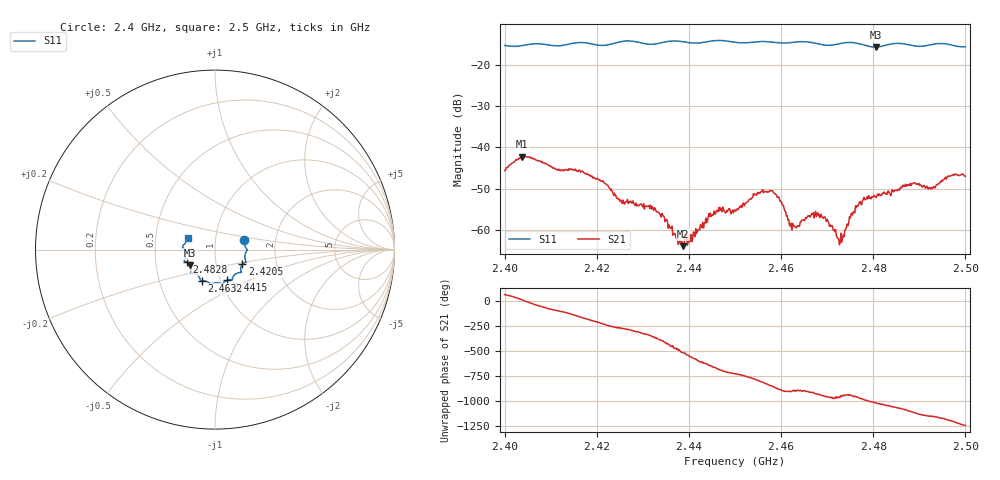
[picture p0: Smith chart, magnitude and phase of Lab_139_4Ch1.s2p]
# Hz S RI R 50
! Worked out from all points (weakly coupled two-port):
!   601 points, 2.4 GHz to 2.5 GHz, reference 50 ohm
!   highest |S21| = -42.26 dB at 2.4038 GHz (marker M1); lowest = -64.0 dB at 2.4387 GHz (marker M2)
!   lowest |S11| = -15.7 dB at 2.4805 GHz (marker M3), VSWR 1.39, Z = 37.3 - j6.7 ohm
!   |S11| at or under -10 dB: start of sweep to end of sweep
!   S12 and S22 are empty: the file has one direction only
!   S11 on the Smith chart (normalised r, x): 2.4 GHz: 1.38, +0.15; 2.4205 GHz: 1.34, -0.23; 2.4415 GHz: 1.07, -0.38; 2.4632 GHz: 0.82, -0.29; 2.4828 GHz: 0.72, -0.10; 2.5 GHz: 0.73, +0.10
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2.4e9  0.1636 0.0519  0.00199 0.00482  0 0  0 0
2.403833e9  0.1709 0.0115  0.00747 0.00192  0 0  0 0
2.416667e9  0.1728 -0.07  -0.00481 -0.00164  0 0  0 0
2.4205e9  0.1522 -0.0816  -0.00335 0.0022  0 0  0 0
2.4255e9  0.147 -0.124  0.000159 0.00208  0 0  0 0
2.433333e9  0.1001 -0.1514  0.00154 -0.000559  0 0  0 0
2.438667e9  0.0905 -0.168  -0.000579 -0.000257  0 0  0 0
2.4415e9  0.0659 -0.1708  -0.000776 0.000681  0 0  0 0
2.4465e9  0.0404 -0.1933  0.00148 0.00113  0 0  0 0
2.45e9  0.0242 -0.1861  0.00171 -0.000221  0 0  0 0
2.4545e9  -0.0142 -0.1894  0.00112 -0.00244  0 0  0 0
2.457833e9  -0.0306 -0.1865  -0.00191 -0.00227  0 0  0 0
2.461833e9  -0.0637 -0.174  -0.00111 0.000146  0 0  0 0
2.463167e9  -0.0733 -0.1739  -0.00107 -0.000102  0 0  0 0
2.466667e9  -0.0821 -0.167  -0.0015 0.000477  0 0  0 0
2.469833e9  -0.0978 -0.1423  -0.000707 0.00105  0 0  0 0
2.472833e9  -0.1255 -0.1301  -0.000294 0.00065  0 0  0 0
2.476667e9  -0.1325 -0.1247  -0.000797 0.00176  0 0  0 0
2.4805e9  -0.1388 -0.0874  0.00127 0.00214  0 0  0 0
2.482833e9  -0.1587 -0.0701  0.00226 0.00162  0 0  0 0
2.483333e9  -0.1624 -0.0681  0.00259 0.00141  0 0  0 0
2.5e9  -0.1527 0.0643  -0.00436 -0.000918  0 0  0 0
